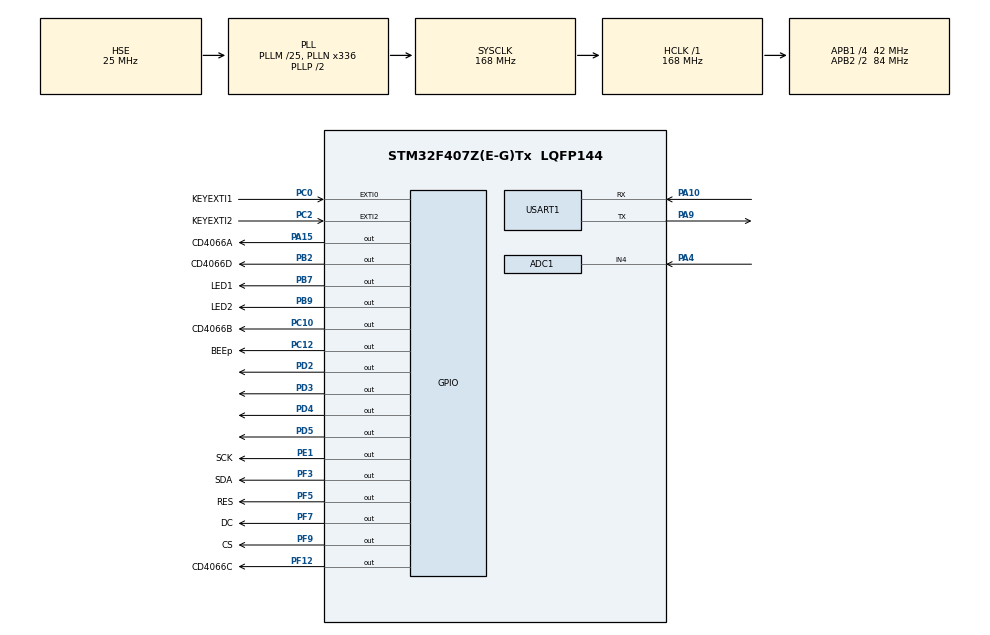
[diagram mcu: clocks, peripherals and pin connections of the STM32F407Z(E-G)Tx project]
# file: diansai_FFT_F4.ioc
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ADC1.Channel-0\#ChannelRegularConversion=ADC_CHANNEL_4
ADC1.ClockPrescaler=ADC_CLOCK_SYNC_PCLK_DIV4
ADC1.ContinuousConvMode=DISABLE
ADC1.DMAContinuousRequests=ENABLE
ADC1.EOCSelection=ADC_EOC_SINGLE_CONV
ADC1.EnableAnalogWatchDog=false
ADC1.ExternalTrigConv=ADC_EXTERNALTRIGCONV_T3_TRGO
ADC1.InjNumberOfConversion=0
ADC1.NbrOfConversionFlag=1
ADC1.Rank-0\#ChannelRegularConversion=1
ADC1.SamplingTime-0\#ChannelRegularConversion=ADC_SAMPLETIME_3CYCLES
ADC1.ScanConvMode=ENABLE
ADC1.master=1
Dma.ADC1.0.Direction=DMA_PERIPH_TO_MEMORY
Dma.ADC1.0.FIFOMode=DMA_FIFOMODE_DISABLE
Dma.ADC1.0.Instance=DMA2_Stream0
Dma.ADC1.0.MemDataAlignment=DMA_MDATAALIGN_HALFWORD
Dma.ADC1.0.MemInc=DMA_MINC_ENABLE
Dma.ADC1.0.Mode=DMA_NORMAL
Dma.ADC1.0.PeriphDataAlignment=DMA_PDATAALIGN_HALFWORD
Dma.ADC1.0.PeriphInc=DMA_PINC_DISABLE
Dma.ADC1.0.Priority=DMA_PRIORITY_LOW
Dma.Request0=ADC1
Mcu.Family=STM32F4
Mcu.Name=STM32F407Z(E-G)Tx
Mcu.Package=LQFP144
NVIC.DMA2_Stream0_IRQn=true\:0\:0\:false\:false\:true\:false\:true
NVIC.EXTI0_IRQn=true\:0\:0\:false\:false\:true\:true\:true
NVIC.EXTI2_IRQn=true\:0\:0\:false\:false\:true\:true\:true
NVIC.PriorityGroup=NVIC_PRIORITYGROUP_4
NVIC.USART1_IRQn=true\:0\:0\:false\:false\:true\:true\:true
PA10.Mode=Asynchronous
PA10.Signal=USART1_RX
PA13.Mode=Serial_Wire
PA13.Signal=SYS_JTMS-SWDIO
PA14.Mode=Serial_Wire
PA14.Signal=SYS_JTCK-SWCLK
PA15.GPIO_Label=CD4066A
PA15.GPIO_PuPd=GPIO_PULLDOWN
PA15.Signal=GPIO_Output
PA4.Signal=ADCx_IN4
PA9.Mode=Asynchronous
PA9.Signal=USART1_TX
PB2.GPIO_Label=CD4066D
PB2.GPIO_PuPd=GPIO_PULLDOWN
PB2.Signal=GPIO_Output
PB7.GPIO_Label=LED1
PB7.Signal=GPIO_Output
PB9.GPIO_Label=LED2
PB9.Signal=GPIO_Output
PC0.GPIO_Label=KEYEXTI1
PC0.Signal=GPXTI0
PC10.GPIO_Label=CD4066B
PC10.GPIO_PuPd=GPIO_PULLDOWN
PC10.Signal=GPIO_Output
PC12.GPIO_Label=BEEp
PC12.Signal=GPIO_Output
PC14-OSC32_IN.Mode=LSE-External-Oscillator
PC14-OSC32_IN.Signal=RCC_OSC32_IN
PC15-OSC32_OUT.Mode=LSE-External-Oscillator
PC15-OSC32_OUT.Signal=RCC_OSC32_OUT
PC2.GPIO_Label=KEYEXTI2
PC2.Signal=GPXTI2
PD2.Signal=GPIO_Output
PD3.Signal=GPIO_Output
PD4.Signal=GPIO_Output
PD5.Signal=GPIO_Output
PE1.GPIO_Label=SCK
PE1.Signal=GPIO_Output
PF12.GPIO_Label=CD4066C
PF12.GPIO_PuPd=GPIO_PULLDOWN
PF12.Signal=GPIO_Output
PF3.GPIO_Label=SDA
PF3.Signal=GPIO_Output
PF5.GPIO_Label=RES
PF5.Signal=GPIO_Output
PF7.GPIO_Label=DC
PF7.Signal=GPIO_Output
PF9.GPIO_Label=CS
PF9.Signal=GPIO_Output
PH0-OSC_IN.Mode=HSE-External-Oscillator
PH0-OSC_IN.Signal=RCC_OSC_IN
PH1-OSC_OUT.Mode=HSE-External-Oscillator
PH1-OSC_OUT.Signal=RCC_OSC_OUT
ProjectManager.HeapSize=0x200
ProjectManager.StackSize=0x400
ProjectManager.TargetToolchain=MDK-ARM V5.27
RCC.48MHZClocksFreq_Value=84000000
RCC.AHBFreq_Value=168000000
RCC.APB1CLKDivider=RCC_HCLK_DIV4
RCC.APB1Freq_Value=42000000
RCC.APB1TimFreq_Value=84000000
RCC.APB2CLKDivider=RCC_HCLK_DIV2
RCC.APB2Freq_Value=84000000
RCC.APB2TimFreq_Value=168000000
RCC.CortexFreq_Value=168000000
RCC.HCLKFreq_Value=168000000
RCC.HSE_VALUE=25000000
RCC.HSI_VALUE=16000000
RCC.PLLM=25
RCC.PLLN=336
RCC.PLLSourceVirtual=RCC_PLLSOURCE_HSE
RCC.SYSCLKFreq_VALUE=168000000
RCC.SYSCLKSource=RCC_SYSCLKSOURCE_PLLCLK
RCC.VCOOutputFreq_Value=336000000
SH.ADCx_IN4.0=ADC1_IN4,IN4
TIM3.AutoReloadPreload=TIM_AUTORELOAD_PRELOAD_ENABLE
TIM3.Period=2562
TIM3.Prescaler=0
TIM3.TIM_MasterOutputTrigger=TIM_TRGO_UPDATE
TIM3.TIM_MasterSlaveMode=TIM_MASTERSLAVEMODE_DISABLE
USART1.VirtualMode=VM_ASYNC
VP_TIM3_VS_ClockSourceINT.Mode=Internal
board=custom

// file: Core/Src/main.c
/* USER CODE BEGIN Header */
/**
  ******************************************************************************
  * @file           : main.c
  * @brief          : Main program body
  ******************************************************************************
  * @attention
  *
  * <h2><center>&copy; Copyright (c) 2020 STMicroelectronics.
  * All rights reserved.</center></h2>
  *
  * This software component is licensed by ST under BSD 3-Clause license,
  * the "License"; You may not use this file except in compliance with the
  * License. You may obtain a copy of the License at:
  *                        opensource.org/licenses/BSD-3-Clause
  *
  ******************************************************************************
  */
/* USER CODE END Header */
#include "main.h"
#include "adc.h"
#include "dma.h"
#include "tim.h"
#include "usart.h"
#include "gpio.h"

/* USER CODE BEGIN Includes */
#include "XMF_OLED_STM32Cube.h"
#include "stdio.h"
#include "delay.h"

#include "stdlib.h"

#include "string.h"

#include "stm32_dsp.h"
#include "arm_math.h"
#include "arm_const_structs.h"
#include "table_fft.h"
#include "math.h"
/* USER CODE END Includes */

/* USER CODE BEGIN PD */

#define NPT 4096
#define PI2 6.28318530717959
#define Fs  (32768)
#define R   Fs/(NPT*1.0)
#define ifftFlag 0
#define doBitReverse 1

typedef struct{
    uint16_t num;
    float value;
    float hz;
}disBuf;

float fft_hz[5];
float fft_Value[5];

disBuf disFFT[(NPT>>1)];   //频谱线数据

uint16_t adc_buff[NPT]={0};
float fadc_buf[NPT] = {0.0};
float FFT_InputBuf[NPT*2];
float FFT_OutputBuf[NPT];

/* USER CODE END PD */

/* USER CODE BEGIN PV */

int state;//按键的标志位，未使用上
int i = 0;

int sig =5;

int tat = 0;

float THD = 0.0;

/* USER CODE END PV */

void SystemClock_Config(void);

/* USER CODE BEGIN 0 */
//6 - A - KEY1 --- B5 -- D3
//8 - B - KEY4 --- B4 -- D2
//7 - C - KEY2 --- B6 -- D4
//5 - D - KEY3 --- B7 -- D5
#define SW1_GPIO 			GPIOD//GPIOB
#define SW1_GPIO_PIN 	GPIO_PIN_3//GPIO_PIN_5
#define SW2_GPIO 			GPIOD//GPIOB
#define SW2_GPIO_PIN 	GPIO_PIN_2//GPIO_PIN_6//GPIO_PIN_3
#define SW3_GPIO 			GPIOD//GPIOB
#define SW3_GPIO_PIN 	GPIO_PIN_4//GPIO_PIN_7//GPIO_PIN_4
#define SW4_GPIO 			GPIOD//GPIOB
#define SW4_GPIO_PIN 	GPIO_PIN_5//GPIO_PIN_4//GPIO_PIN_6

#define ON 1
#define OFF 0
#define Switch1(state) ((state) == ON?HAL_GPIO_WritePin(SW1_GPIO,SW1_GPIO_PIN,GPIO_PIN_SET):HAL_GPIO_WritePin(SW1_GPIO,SW1_GPIO_PIN,GPIO_PIN_RESET))
#define Switch2(state) ((state) == ON?HAL_GPIO_WritePin(SW2_GPIO,SW2_GPIO_PIN,GPIO_PIN_SET):HAL_GPIO_WritePin(SW2_GPIO,SW2_GPIO_PIN,GPIO_PIN_RESET))
#define Switch3(state) ((state) == ON?HAL_GPIO_WritePin(SW3_GPIO,SW3_GPIO_PIN,GPIO_PIN_SET):HAL_GPIO_WritePin(SW3_GPIO,SW3_GPIO_PIN,GPIO_PIN_RESET))
#define Switch4(state) ((state) == ON?HAL_GPIO_WritePin(SW4_GPIO,SW4_GPIO_PIN,GPIO_PIN_SET):HAL_GPIO_WritePin(SW4_GPIO,SW4_GPIO_PIN,GPIO_PIN_RESET))

#define printf1(...)  HAL_UART_Transmit(&huart1,\
																				(uint8_t *)u_buf,\
																				sprintf((char *)u_buf,__VA_ARGS__),\
																			  100)

//#define OLED_WriteXLine(row,...) OLED_ShowStr(0,(row%5) * 20,\
//																								(uint8_t *)o_buf,sprintf((char *)o_buf,__VA_ARGS__))

uint32_t u_buf[128];
uint32_t o_buf[2];

#define LED1_ON()   HAL_GPIO_WritePin(GPIOB,GPIO_PIN_7,GPIO_PIN_SET)
#define LED1_OFF()  HAL_GPIO_WritePin(GPIOB,GPIO_PIN_7,GPIO_PIN_RESET)

#define LED2_ON()   HAL_GPIO_WritePin(GPIOB,GPIO_PIN_9,GPIO_PIN_SET)
#define LED2_OFF()  HAL_GPIO_WritePin(GPIOB,GPIO_PIN_9,GPIO_PIN_RESET)

#define BEEP_ON()   HAL_GPIO_WritePin(GPIOC,GPIO_PIN_12,GPIO_PIN_RESET)
#define BEEP_OFF()  HAL_GPIO_WritePin(GPIOC,GPIO_PIN_12,GPIO_PIN_SET)

void LED_Check()//在中断回调函数里不用HAL_DELAY
{
    LED1_ON();
    HAL_Delay(500);
    LED2_ON();
    HAL_Delay(500);

    LED1_OFF();
    HAL_Delay(500);
    LED2_OFF();
    HAL_Delay(500);

}

unsigned char str_buff[12];

void ADC_DMAStart()
{
    HAL_Delay(500);

    HAL_ADC_Start_DMA(&hadc1,(uint32_t *)adc_buff,NPT);

    HAL_Delay(500);
    HAL_ADC_Stop_DMA(&hadc1);

    for(int i=0;i<NPT;i++)
    {
        fadc_buf[i] = (adc_buff[i] & 0x0fff) * 1.0;
    }
}
void FFT_Shift(float *SampleValueBuf,float *OutPutBuf,uint32_t len)
{
    for(int i = 0;i<len;i++)
    {
        FFT_InputBuf[2*i] = (float)SampleValueBuf[i];//* 3.3/4096.0;
        FFT_InputBuf[2*i + 1] = 0.0;
    }

    arm_cfft_f32(&arm_cfft_sR_f32_len4096,FFT_InputBuf,ifftFlag,doBitReverse);

    arm_cmplx_mag_f32(FFT_InputBuf, OutPutBuf,len);
}

void CalculateTHD(float *fft_outputbuf,float *THD,float len)
{
    int FFT = 0;
    float a = 0.0;

    for(int i = 0;i<5;i++)
    {
        fft_hz[i] = 0.0;
        fft_Value[i] = 0.0;
    }
    for(i=1;i<len-1;i++)
    {
        if((fft_outputbuf[i]>fft_outputbuf[i-1]&&fft_outputbuf[i]>fft_outputbuf[i+1]))
        {
            if(fft_outputbuf[i]>(float)62060.6)
            {
                disFFT[FFT].num =i;
                disFFT[FFT++].value =fft_outputbuf[i];
            }
        }
    }
    for(i=0;i<FFT/2;i++)
    {
        if((disFFT[i].num-1)*(Fs*1.0)/(len*1.0)>=5200.0)
        {
            break;
        }
        else
        {
            fft_hz[i]=(float)((disFFT[i].num)*Fs/len);
            fft_Value[i]=(disFFT[i].value + disFFT[FFT-1-i].value)/len*2;
        }

    }

    arm_sqrt_f32(fft_Value[1]*fft_Value[1]+fft_Value[2]*fft_Value[2]+fft_Value[3]*fft_Value[3]+fft_Value[4]*fft_Value[4],&a);
    if(fabs(fft_Value[0])<1e-6)
        *THD = 0.0;
    else
        *THD=a/fft_Value[0];

    if(*THD >= 0.483f)
        *THD = 0.483f;

    printf1("\r\n%.3f\r\n",*THD);
}

float CalculateTHDAve(float *THD,float len)
{
    float _THD[5] = {0.0,0.0,0.0,0.0,0.0};
    *THD = 0;
    for(int i = 0;i<5;i++)
    {
        ADC_DMAStart();

        FFT_Shift(fadc_buf,FFT_OutputBuf,NPT);
        CalculateTHD(FFT_OutputBuf,&_THD[i],NPT);
        *THD += _THD[i];
    }
    *THD /= (5.0f);

    return *THD;
}

void DisplayNormalWave()
{
    Switch1(ON);
    Switch2(OFF);
    Switch3(OFF);
    Switch4(OFF);
}

void DisplayTopDistortionWave()
{
    Switch1(ON);
    Switch2(OFF);
    Switch3(ON);
    Switch4(OFF);

//    Switch1(ON);
//    Switch2(ON);
//    Switch3(OFF);
//    Switch4(OFF);
}
void DisplayButtonDistortionWave()
{
    Switch1(OFF);
    Switch2(OFF);
    Switch3(OFF);
    Switch4(OFF);
}
void DisplayTwoWayDistortionWave()
{
    Switch1(ON);
    Switch2(OFF);
    Switch3(OFF);
    Switch4(ON);

//    Switch1(ON);
//    Switch2(OFF);
//    Switch3(ON);
//    Switch4(OFF);
}
void DisplayCrossoverDistortionWave()
{
    Switch1(ON);
    Switch2(ON);
    Switch3(OFF);
    Switch4(OFF);

//    Switch1(ON);
//    Switch2(OFF);
//    Switch3(OFF);
//    Switch4(ON);
}

void OLED_Display(uint8_t *wave_str,float THD)
{

    OLED_ShowString(0,0,(uint8_t *)"www.bilibili.com");

    sprintf((char *)str_buff,"%d",(int)THD);//将数据格式化为字符串
    OLED_ShowString(46,2,str_buff);
}

void CD4066Ctrl(uint8_t data)
{
    uint8_t x = data & 0x0f;

    Switch1(((data>>3)&0x01));
    Switch2((data>>2)&0x01);
    Switch3((data>>1)&0x01);
    Switch3((data)&0x01);
}
void Search()
{
    for(int i = 0;i<16;i++)
        CD4066Ctrl(i);
}
void ClearStrBuf()
{
    for(int i = 0;i<12;i++)
        str_buff[i] = ' ';

}
void DisplayWave()
{
    float THD = 0.0;

    DisplayNormalWave();   //正常
    OLED_Clear();

    OLED_ShowString(0,0,(uint8_t *)"Normal Wave");

    CalculateTHDAve(&THD,NPT);

    ClearStrBuf();
    sprintf((char *)str_buff,"%7.3f %%",THD*100);//将数据格式化为字符串

    OLED_ShowString(46,4,str_buff);
    HAL_Delay(4500);
    BEEP_ON();
    HAL_Delay(500);
    BEEP_OFF();

    DisplayTopDistortionWave(); //顶部
    OLED_Clear();
    OLED_ShowString(0,0,(uint8_t *)"Top Distortion Wave");

    CalculateTHDAve(&THD,NPT);

    ClearStrBuf();
    sprintf((char *)str_buff,"%.3f %%",THD*100);//将数据格式化为字符串		OLED_ShowString(46,4,str_buff);
    OLED_ShowString(46,4,str_buff);

    HAL_Delay(4500);
    BEEP_ON();
    HAL_Delay(500);
    BEEP_OFF();

    OLED_Clear();
    DisplayButtonDistortionWave(); //底部
    OLED_ShowString(0,0,(uint8_t *)"Button Distortion Wave");

    CalculateTHDAve(&THD,NPT);
    ClearStrBuf();
    sprintf((char *)str_buff,"%.3f %%",THD*100);//将数据格式化为字符串

    OLED_ShowString(46,4,str_buff);
    HAL_Delay(4500);
    BEEP_ON();
    HAL_Delay(500);
    BEEP_OFF();

    OLED_Clear();
    OLED_ShowString(0,0,(uint8_t *)"Two Way Distortion Wave");
    DisplayTwoWayDistortionWave();
    CalculateTHDAve(&THD,NPT);

    ClearStrBuf();

    sprintf((char *)str_buff,"%.3f %%",THD*100);//将数据格式化为字符串
    OLED_ShowString(46,4,str_buff);
    HAL_Delay(4500);
    BEEP_ON();
    HAL_Delay(500);
    BEEP_OFF();

    DisplayCrossoverDistortionWave(); //交越
    OLED_Clear();
    OLED_ShowString(0,0,(uint8_t *)"Crossover Distortion Wave");

    CalculateTHDAve(&THD,NPT);

    ClearStrBuf();
    sprintf((char *)str_buff,"%.3f %%",THD*100);//将数据格式化为字符串

    OLED_ShowString(46,4,str_buff);
    HAL_Delay(4500);
    BEEP_ON();
    HAL_Delay(500);
    BEEP_OFF();
}

extern unsigned char BMP1[]; //开机界面    bilibili干杯！
void OLED_display_pic()
{
	OLED_Clear();
	//OLED_DrawBMP(0,0,128,8,BMP1);
	OLED_ShowString(0,0,(uint8_t *)"Hello world");
}

void OLED_display_info()
{
	OLED_Clear();
	OLED_ShowString(0,0,(uint8_t *)"YZ0012");
	//OLED_ShowString(0,0,(uint8_t *)"www.bilibili.com");  //第6和像素点，第0页，字符串数组
	//汉字16个像素点，一般为18个
//	OLED_ShowCHinese(0,2,0);//采样：
//	OLED_ShowCHinese(18,2,1);
//	OLED_ShowString(36,2,(uint8_t *)":");
//
//
//	OLED_ShowCHinese(0,4,3);//电压：
//	OLED_ShowCHinese(18,4,4);
//	//OLED_ShowString(38,3,(uint8_t *)"(V)");
//	OLED_ShowString(36,4,(uint8_t *)":");
//
//	OLED_ShowString(0,6,(uint8_t *)"Temp:");
//

}
/* USER CODE END 0 */

int main(void)
{

  /* MCU Configuration--------------------------------------------------------*/

  /* Reset of all peripherals, Initializes the Flash interface and the Systick. */
  HAL_Init();

  /* Configure the system clock */
  SystemClock_Config();

  /* Initialize all configured peripherals */
  MX_GPIO_Init();
  MX_DMA_Init();
  MX_ADC1_Init();
  MX_USART1_UART_Init();
  MX_TIM3_Init();
  /* USER CODE BEGIN 2 */
	LED_Check();
	OLED_Init();
	BEEP_ON();

	HAL_Delay(500);

	BEEP_OFF();

	delay_init(72);

	OLED_WriteXLine(0,"Hello,World.");
	OLED_display_info();
	HAL_TIM_Base_Start(&htim3);
	HAL_ADC_Start(&hadc1);

#if 1

	DisplayWave();
	DisplayNormalWave();

#endif

/*******F4FFT测试*******/

	delay_init(72);

	HAL_Delay(500);
  /* USER CODE END 2 */

  /* Infinite loop */
  /* USER CODE BEGIN WHILE */
  while (1)
  {
			uint8_t fft_harmonic[5] = {0,0,0,0,0};
			uint8_t _fft_harmonic[5] = {0,0,0,0,0};
			uint8_t harmonic_buf[12];
			for(int i = 0;i<12;i++)
				harmonic_buf[i] = ' ';

			/* USER CODE END WHILE */
			OLED_Clear();
			OLED_ShowString(0,0,(uint8_t *)"Test Wave");

			CalculateTHDAve(&THD,NPT);
			for(int i = 0;i<5;i++)
			{
					if(fft_Value[i] >= 50.0||((fft_hz[i] >= ((i+1)*1000 - 250))&&(fft_hz[i] <= ((i+1)*1000 + 250))))
					{
							fft_harmonic[i] = 1;
							//if(fft_hz[i] >= ((i*1000)))
					}
					else
				      fft_harmonic[i] = 0;

					if(fft_harmonic[i])
						_fft_harmonic[i] = i + '0';
				  else
						_fft_harmonic[i] = ' ';
			}

			fft_harmonic[0] = 1;
			_fft_harmonic[0] = '1';

			if(fft_harmonic[2] == 1 && fft_harmonic[4] == 1)
			{
				 _fft_harmonic[2] = '3';
				 _fft_harmonic[4] = '5';
				 _fft_harmonic[1] = ' ';
				 _fft_harmonic[0] = ' ';
			}
			else if(fft_harmonic[2] == 1 || fft_harmonic[4] == 1) // 1 3 5
			{
				 _fft_harmonic[2] = '3';
				 _fft_harmonic[4] = '5';
			}
			else
			{
				 _fft_harmonic[1] = '2';
				 _fft_harmonic[3] = '4';
			}

			if(fft_harmonic[1] == 1 && fft_harmonic[3] == 1)
			{
				 _fft_harmonic[3] = '4';
				 _fft_harmonic[1] = '2';
				 _fft_harmonic[2] = ' ';
				 _fft_harmonic[4] = ' ';
			}
			else if(fft_harmonic[1] == 1 || fft_harmonic[3] == 1) //1 2 4
			{
				 _fft_harmonic[1] = '2';
				 _fft_harmonic[3] = '4';
			}
			else
			{
				 _fft_harmonic[2] = '3';
				 _fft_harmonic[4] = '5';
			}

			if(fft_Value[0] && fft_Value[2] && fft_Value[4])
			{
				OLED_Clear();
				OLED_ShowString(0,4,"1 3 5");
			}
			else
			{
				OLED_Clear();
				OLED_ShowString(0,4,"1 2 4");
			}

			if(fft_Value[0] && fft_Value[1] && fft_Value[3])
			{
					OLED_Clear();
					OLED_ShowString(0,4,"1 2 4");
			}
			else
			{
				if(THD <= 16.0)
				{
					OLED_Clear();
					OLED_ShowString(0,4,"1 3 5");
				}
				else
				{
					OLED_Clear();
					OLED_ShowString(0,4,"1 2 4");
				}
			}

			sprintf((char *)str_buff,"%.3f %%",THD*100);//将数据格式化为字符串

			OLED_ShowString(46,2,str_buff);

			HAL_Delay(4500);
			BEEP_ON();
			HAL_Delay(500);
			BEEP_OFF();
  }
}

void SystemClock_Config(void)
{
  RCC_OscInitTypeDef RCC_OscInitStruct = {0};
  RCC_ClkInitTypeDef RCC_ClkInitStruct = {0};

  /** Configure the main internal regulator output voltage
  */
  __HAL_RCC_PWR_CLK_ENABLE();
  __HAL_PWR_VOLTAGESCALING_CONFIG(PWR_REGULATOR_VOLTAGE_SCALE1);
  /** Initializes the RCC Oscillators according to the specified parameters
  * in the RCC_OscInitTypeDef structure.
  */
  RCC_OscInitStruct.OscillatorType = RCC_OSCILLATORTYPE_HSE;
  RCC_OscInitStruct.HSEState = RCC_HSE_ON;
  RCC_OscInitStruct.PLL.PLLState = RCC_PLL_ON;
  RCC_OscInitStruct.PLL.PLLSource = RCC_PLLSOURCE_HSE;
  RCC_OscInitStruct.PLL.PLLM = 25;
  RCC_OscInitStruct.PLL.PLLN = 336;
  RCC_OscInitStruct.PLL.PLLP = RCC_PLLP_DIV2;
  RCC_OscInitStruct.PLL.PLLQ = 4;
  if (HAL_RCC_OscConfig(&RCC_OscInitStruct) != HAL_OK)
  {
    Error_Handler();
  }
  /** Initializes the CPU, AHB and APB buses clocks
  */
  RCC_ClkInitStruct.ClockType = RCC_CLOCKTYPE_HCLK|RCC_CLOCKTYPE_SYSCLK
                              |RCC_CLOCKTYPE_PCLK1|RCC_CLOCKTYPE_PCLK2;
  RCC_ClkInitStruct.SYSCLKSource = RCC_SYSCLKSOURCE_PLLCLK;
  RCC_ClkInitStruct.AHBCLKDivider = RCC_SYSCLK_DIV1;
  RCC_ClkInitStruct.APB1CLKDivider = RCC_HCLK_DIV4;
  RCC_ClkInitStruct.APB2CLKDivider = RCC_HCLK_DIV2;

  if (HAL_RCC_ClockConfig(&RCC_ClkInitStruct, FLASH_LATENCY_5) != HAL_OK)
  {
    Error_Handler();
  }
}

/* USER CODE BEGIN 4 */
//GPIO中断,此处为按键中断，记录按下的时间，未使用
void HAL_GPIO_EXTI_Callback(uint16_t GPIO_Pin)//中断回调函数 在main中重写
{//双边沿中断
	if(GPIO_Pin == GPIO_PIN_3)  //key1 模式一 红外测温
	{
		HAL_GPIO_WritePin(GPIOB,GPIO_PIN_6,GPIO_PIN_SET);
		delay_ms(10);
		tat=0;

	}

	if(GPIO_Pin == GPIO_PIN_2) 		//key2  模式2LMT70测温
	{
			HAL_GPIO_WritePin(GPIOB,GPIO_PIN_6,GPIO_PIN_SET);
			tat=1;
	}

}

int fputc(int ch,FILE *f)
{
	size_t count =1;
	char chTemp = (char)ch;

	HAL_UART_Transmit(&huart1,(uint8_t *)&chTemp,count,100);
	return count;
}
//定时器TIM1中断，未使用
void HAL_TIM_PeriodElapsedCallback(TIM_HandleTypeDef *htim)
{
	if(htim->Instance == TIM1)
	{

	}
}
/* USER CODE END 4 */

void Error_Handler(void)
{
}

/************************ (C) COPYRIGHT STMicroelectronics *****END OF FILE****/
